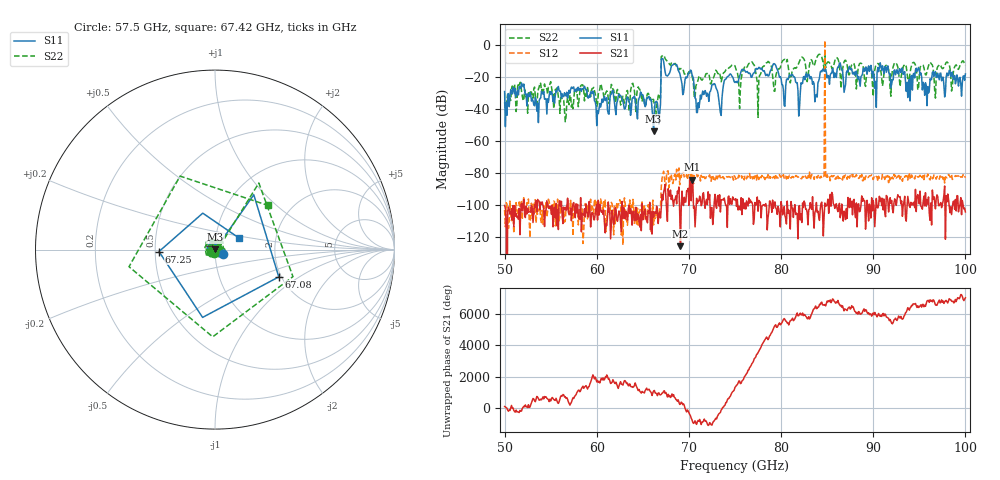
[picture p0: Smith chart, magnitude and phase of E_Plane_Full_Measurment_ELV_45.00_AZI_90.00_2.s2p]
! 11/26/2026 2:45:19 PM
! C:\ANRITSUVNA\TEMP\TEMP.S2P
! CHANNEL.1
! TR.MEASUREMENT
! RAW.DATA
# HZ S RI R 50.0
! FREQ.HZ  S11RE  S11IM  S21RE  S21IM  S12RE  S12IM  S22RE  S22IM
!; PortSelection: Port_12
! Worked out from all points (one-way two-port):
!   601 points, 50 GHz to 100 GHz, reference 50 ohm
!   highest |S21| = -84.30 dB at 70.33 GHz (marker M1); lowest = -126.0 dB at 69.08 GHz (marker M2)
!   lowest |S11| = -53.9 dB at 66.17 GHz (marker M3), VSWR 1.00, Z = 50.1 + j0.146 ohm
!   |S11| at or under -10 dB: start of sweep to 67 GHz; 67.24 GHz to end of sweep
!   |S22| runs from -48.0 to -4.0 dB; largest |S21 - S12| = 1.4
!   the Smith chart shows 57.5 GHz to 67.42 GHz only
!   S11 on the Smith chart (normalised r, x): 57.5 GHz: 1.09, -0.05; 67.08 GHz: 1.94, -0.69; 67.25 GHz: 0.52, -0.01; 67.42 GHz: 1.29, +0.17
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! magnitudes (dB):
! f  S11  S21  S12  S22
! 50 GHz  -29.0  -100.5  -103.3  -35.8
! 57.5 GHz  -26.2  -98.6  -102.1  -34.7
! 58.42 GHz  -27.2  -105.4  -102.7  -24.8
! 60.17 GHz  -42.8  -97.2  -99.7  -30.4
! 66.17 GHz  -53.9  -107.8  -112.7  -34.0
! 66.67 GHz  -41.5  -111.8  -106.4  -31.7
! 67.08 GHz  -8.3  -93.6  -83.5  -6.8
! 67.25 GHz  -10.1  -92.4  -79.0  -6.2
! 67.42 GHz  -16.6  -87.3  -88.3  -8.3
! 69.08 GHz  -19.5  -126.0  -80.5  -14.8
! 70.33 GHz  -18.4  -84.3  -83.5  -19.2
! 70.92 GHz  -42.2  -99.1  -82.5  -23.1
! 75 GHz  -23.3  -97.2  -82.5  -13.0
! 79.25 GHz  -11.5  -99.8  -82.3  -28.9
! 80.25 GHz  -27.9  -104.7  -81.1  -9.3
! 83.42 GHz  -24.4  -95.0  -81.1  -10.8
! 84.42 GHz  -16.7  -98.4  -83.4  -7.4
! 84.5 GHz  -15.2  -105.0  -82.6  -9.2
! 85.08 GHz  -18.9  -96.5  -82.7  -10.4
! 91.67 GHz  -16.7  -104.6  -86.2  -15.2
! 95.83 GHz  -37.9  -96.8  -82.5  -16.5
! 100 GHz  -18.0  -104.5  -83.1  -12.5
